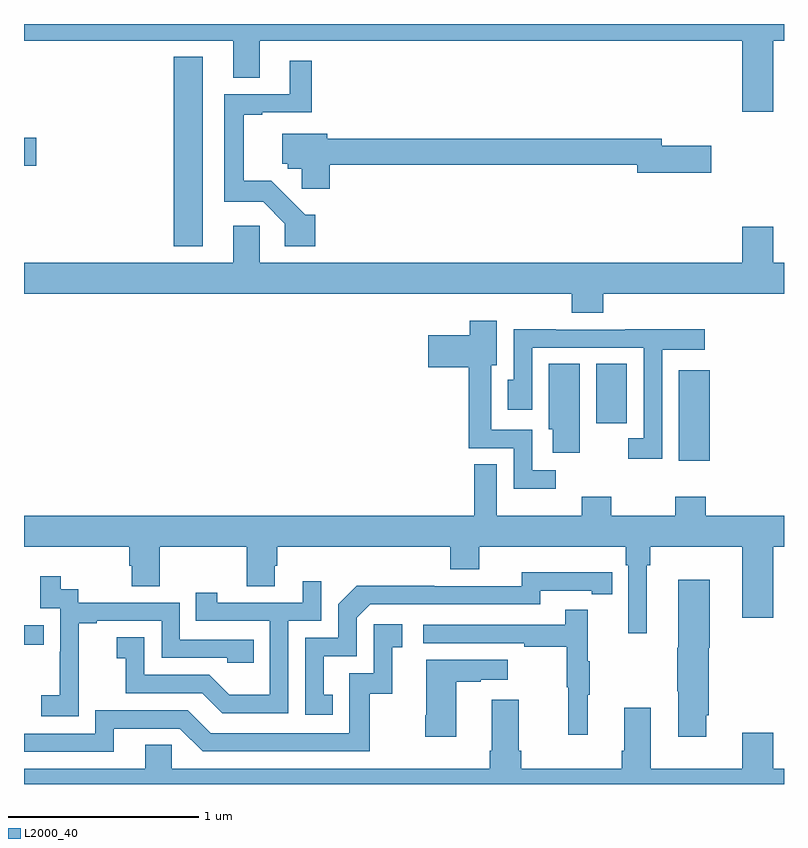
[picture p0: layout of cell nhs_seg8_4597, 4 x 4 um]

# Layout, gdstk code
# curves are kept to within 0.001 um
import gdstk
lib = gdstk.Library(unit=1e-6, precision=1e-09)
def R(c, l, rs):  # rectangles x0, y0, x1, y1
    for r in rs: c.add(gdstk.rectangle(r[:2], r[2:], *l))
def P(c, l, *ps):  # polygons
    for p in ps: c.add(gdstk.Polygon(p, *l))
L2000_40 = (2000, 40)

nhs_seg8_4597 = lib.new_cell('nhs_seg8_4597')
R(nhs_seg8_4597, L2000_40, [(389,1134.634,389.105,1134.735), (392.447,1135.602,392.608,1136.077), (392.012,1135.8,392.173,1136.111), (389.789,1136.729,389.941,1137.727), (389,1137.155,389.065,1137.302)])
P(nhs_seg8_4597, L2000_40, [(392.944,1137.812),(393,1137.812),(393,1137.9),(389,1137.9),(389,1137.812),(390.101,1137.812),(390.101,1137.618),(390.241,1137.618),(390.241,1137.812),(392.78,1137.812),(392.78,1137.438),(392.944,1137.438)],
  [(390.533,1136.896),(390.479,1136.896),(390.301,1137.074),(390.157,1137.074),(390.157,1137.423),(390.253,1137.423),(390.253,1137.435),(390.515,1137.435),(390.515,1137.706),(390.398,1137.706),(390.398,1137.531),(390.053,1137.531),(390.053,1136.964),(390.258,1136.964),(390.372,1136.85),(390.372,1136.73),(390.533,1136.73)],
  [(390.608,1137.16),(392.228,1137.16),(392.228,1137.118),(392.617,1137.118),(392.617,1137.26),(392.356,1137.26),(392.356,1137.296),(390.595,1137.296),(390.595,1137.322),(390.359,1137.322),(390.359,1137.165),(390.387,1137.165),(390.387,1137.138),(390.463,1137.138),(390.463,1137.033),(390.608,1137.033)],
  [(392.048,1136.48),(393,1136.48),(393,1136.644),(392.944,1136.644),(392.944,1136.833),(392.78,1136.833),(392.78,1136.644),(390.24,1136.644),(390.24,1136.839),(390.101,1136.839),(390.101,1136.644),(389,1136.644),(389,1136.48),(391.883,1136.48),(391.883,1136.381),(392.048,1136.381)],
  [(391.798,1135.551),(391.674,1135.551),(391.674,1135.764),(391.459,1135.764),(391.459,1136.105),(391.489,1136.105),(391.489,1136.338),(391.346,1136.338),(391.346,1136.263),(391.128,1136.263),(391.128,1136.093),(391.341,1136.093),(391.341,1135.668),(391.578,1135.668),(391.578,1135.454),(391.798,1135.454)],
  [(392.358,1136.186),(392.584,1136.186),(392.584,1136.294),(392.165,1136.294),(392.165,1136.292),(391.799,1136.292),(391.799,1136.294),(391.578,1136.294),(391.578,1136.028),(391.547,1136.028),(391.547,1135.869),(391.674,1135.869),(391.674,1136.196),(392.262,1136.196),(392.262,1135.719),(392.181,1135.719),(392.181,1135.611),(392.358,1135.611)],
  [(391.924,1136.111),(391.763,1136.111),(391.763,1135.767),(391.784,1135.767),(391.784,1135.644),(391.924,1135.644)],
  [(392.278,1135.052),(392.297,1135.052),(392.297,1135.148),(392.78,1135.148),(392.78,1134.774),(392.944,1134.774),(392.944,1135.148),(393,1135.148),(393,1135.312),(392.588,1135.312),(392.588,1135.411),(392.428,1135.411),(392.428,1135.312),(392.091,1135.312),(392.091,1135.411),(391.936,1135.411),(391.936,1135.312),(391.489,1135.312),(391.489,1135.583),(391.371,1135.583),(391.371,1135.312),(389,1135.312),(389,1135.148),(389.555,1135.148),(389.555,1135.05),(389.567,1135.05),(389.567,1134.94),(389.715,1134.94),(389.715,1135.148),(390.172,1135.148),(390.172,1134.94),(390.319,1134.94),(390.319,1135.05),(390.332,1135.05),(390.332,1135.148),(391.244,1135.148),(391.244,1135.031),(391.396,1135.031),(391.396,1135.148),(392.168,1135.148),(392.168,1135.052),(392.181,1135.052),(392.181,1134.693),(392.278,1134.693)],
  [(390.626,1134.369),(390.577,1134.369),(390.577,1134.573),(390.75,1134.573),(390.75,1134.774),(390.822,1134.846),(391.716,1134.846),(391.716,1134.918),(391.988,1134.918),(391.988,1134.898),(392.096,1134.898),(392.096,1135.014),(391.62,1135.015),(391.62,1134.942),(391.16,1134.942),(391.16,1134.944),(390.752,1134.944),(390.654,1134.846),(390.654,1134.669),(390.48,1134.669),(390.48,1134.264),(390.626,1134.264)],
  [(389.289,1134.463),(389.288,1134.463),(389.288,1134.747),(389.383,1134.747),(389.383,1134.759),(389.724,1134.759),(389.724,1134.564),(390.069,1134.564),(390.069,1134.537),(390.209,1134.537),(390.209,1134.66),(389.82,1134.66),(389.82,1134.855),(389.286,1134.855),(389.286,1134.924),(389.194,1134.924),(389.194,1134.994),(389.085,1134.994),(389.085,1134.825),(389.19,1134.825),(389.19,1134.596),(389.189,1134.596),(389.189,1134.367),(389.091,1134.367),(389.091,1134.257),(389.289,1134.257)],
  [(392.59,1134.262),(392.603,1134.262),(392.603,1134.618),(392.608,1134.618),(392.608,1134.976),(392.444,1134.976),(392.444,1134.618),(392.437,1134.618),(392.437,1134.388),(392.444,1134.388),(392.444,1134.15),(392.59,1134.15)],
  [(390.39,1134.759),(390.564,1134.759),(390.564,1134.967),(390.467,1134.967),(390.467,1134.855),(390.016,1134.855),(390.016,1134.907),(389.905,1134.907),(389.905,1134.759),(390.294,1134.759),(390.294,1134.37),(390.08,1134.37),(389.976,1134.474),(389.634,1134.474),(389.634,1134.673),(389.487,1134.673),(389.487,1134.563),(389.536,1134.563),(389.536,1134.378),(389.939,1134.378),(390.044,1134.273),(390.39,1134.273)],
  [(391.967,1134.371),(391.978,1134.371),(391.978,1134.545),(391.967,1134.545),(391.967,1134.817),(391.849,1134.817),(391.849,1134.738),(391.101,1134.738),(391.101,1134.642),(391.633,1134.642),(391.633,1134.622),(391.857,1134.622),(391.857,1134.408),(391.864,1134.408),(391.864,1134.159),(391.967,1134.159)],
  [(389.473,1134.192),(389.82,1134.192),(389.94,1134.072),(390.82,1134.072),(390.82,1134.375),(390.938,1134.375),(390.938,1134.621),(390.991,1134.621),(390.991,1134.742),(390.84,1134.742),(390.84,1134.483),(390.711,1134.483),(390.711,1134.168),(389.982,1134.168),(389.862,1134.288),(389.376,1134.288),(389.376,1134.165),(389,1134.165),(389,1134.069),(389.473,1134.069)],
  [(391.276,1134.439),(391.403,1134.439),(391.403,1134.449),(391.546,1134.449),(391.546,1134.553),(391.118,1134.553),(391.118,1134.262),(391.111,1134.262),(391.111,1134.15),(391.276,1134.15)],
  [(393,1133.98),(392.944,1133.98),(392.944,1134.169),(392.78,1134.169),(392.78,1133.98),(392.299,1133.98),(392.299,1134.301),(392.159,1134.301),(392.159,1134.076),(392.147,1134.076),(392.147,1133.98),(391.616,1133.98),(391.616,1134.076),(391.603,1134.076),(391.603,1134.343),(391.463,1134.343),(391.463,1134.076),(391.451,1134.076),(391.451,1133.98),(389.778,1133.98),(389.778,1134.107),(389.639,1134.107),(389.639,1133.98),(389,1133.98),(389,1133.9),(393,1133.9)])

lib.write_gds('nhs_seg8_4597.gds')
